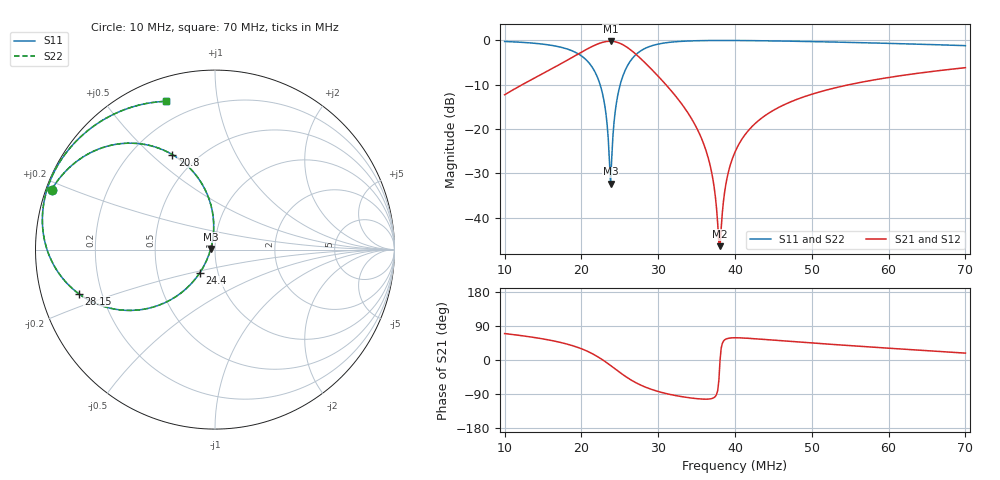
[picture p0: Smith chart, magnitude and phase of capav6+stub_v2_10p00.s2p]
! Touchstone file exported from HFSS 2025.2.0
!  File:  C:/Users/32474/OneDrive - UCL/Documents/Ingenieur/MASTER1/Stage/HFSS/capav6+stub.aedt
!  Generated:  07:38:19 PM Jul 17, 2026
!  Design:  HFSSDesign1
!  Project:  capav6+stub
!  Setup:  Setup4
!  Solution:  Sweep
# GHz S MA R 50.000000
! Terminal data exported
! Port[1] = capa_10p00_v2_1_1
! Port[2] = capa_10p00_v2_1_2
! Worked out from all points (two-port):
!   401 points, 10 MHz to 70 MHz, reference 50 ohm
!   highest |S21| = -0.21 dB at 23.8 MHz (marker M1); lowest = -46.4 dB at 38.05 MHz (marker M2)
!   |S21| within 3 dB of the highest: 19.46 MHz to 27.14 MHz (7.675 MHz wide, 32.9 % of centre)
!   lowest |S11| = -32.3 dB at 23.8 MHz (marker M3), VSWR 1.05, Z = 47.7 + j0.399 ohm
!   |S11| at or under -10 dB: 22.43 MHz to 25.06 MHz (2.625 MHz wide, 11.1 % of centre)
!   |S22| runs from -32.4 to 0.0 dB; largest |S21 - S12| = 2.8e-15
!   S11 on the Smith chart (normalised r, x): 10 MHz: 0.02, +0.18; 20.8 MHz: 0.37, +0.58; 24.4 MHz: 0.82, -0.22; 28.15 MHz: 0.11, -0.16; 70 MHz: 0.11, +0.72
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0.01  0.9697 159.9  0.2428 69.8  0.2428 69.8  0.9697 159.9
! Gamma 4.29697051666312E-05 0.209627589892663 4.3677466973427E-05 0.209628337336156
! Port Impedance 50 0 50 0
0.01585  0.884 142.8  0.4628 52.5  0.4628 52.5  0.884 142.8
0.02005  0.6622 120.3  0.7381 29.3  0.7381 29.3  0.6622 120.3
0.0208  0.5801 114.2  0.8012 22.8  0.8012 22.8  0.5801 114.1
0.0226  0.2815 96.6  0.9401 2.6  0.9401 2.6  0.2814 96.6
0.0238  0.02418 170.0  0.9759 -14.5  0.9759 -14.5  0.024 170.1
0.0241  0.08214 -126.9  0.9719 -19.1  0.9719 -19.1  0.08209 -126.8
0.0244  0.1567 -123.2  0.9621 -23.7  0.9621 -23.7  0.1567 -123.2
0.025  0.3037 -127.9  0.9258 -32.8  0.9258 -32.8  0.3036 -127.9
0.02575  0.4686 -137.0  0.8554 -43.5  0.8554 -43.5  0.4686 -137.0
0.02815  0.7988 -162.2  0.5726 -70.0  0.5726 -70.0  0.7988 -162.2
0.0301  0.9099 -175.6  0.3847 -83.7  0.3847 -83.7  0.9099 -175.6
0.0358  0.9918 162.5  0.07225 -103.2  0.07225 -103.2  0.9918 162.4
0.037  0.9946 159.4  0.03104 -101.6  0.03104 -101.6  0.9946 159.3
0.03775  0.9954 157.6  0.008495 -80.1  0.008495 -80.1  0.9954 157.5
0.03805  0.9955 156.9  0.004759 -1.4  0.004759 -1.4  0.9955 156.8
0.03895  0.9955 154.9  0.02754 56.3  0.02754 56.3  0.9955 154.8
0.04  0.9947 152.6  0.05483 58.7  0.05483 58.7  0.9947 152.6
0.0436  0.9878 145.8  0.1352 54.6  0.1352 54.6  0.9878 145.8
0.05005  0.9668 135.4  0.2471 44.9  0.2471 44.9  0.9668 135.4
0.0601  0.9227 121.2  0.3816 31.0  0.3816 31.0  0.9227 121.2
0.07  0.87 108.3  0.4908 18.2  0.4908 18.2  0.87 108.3
